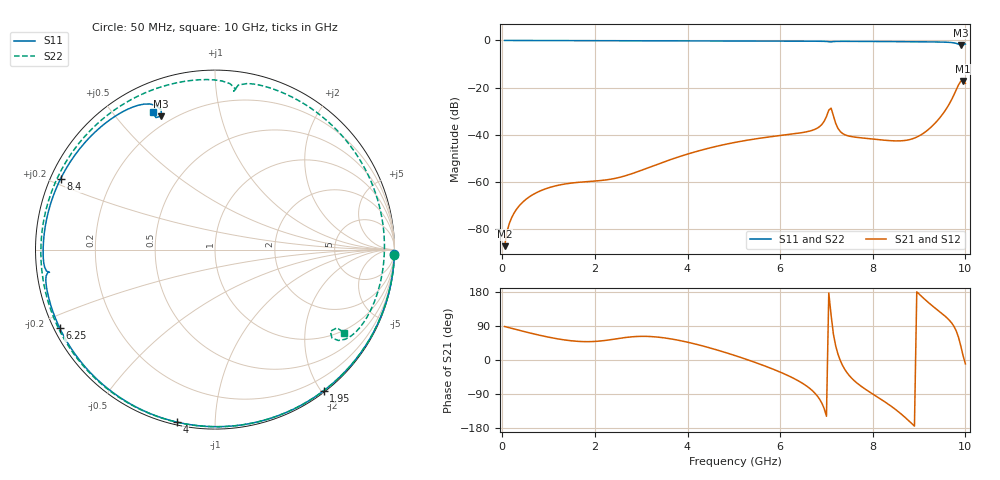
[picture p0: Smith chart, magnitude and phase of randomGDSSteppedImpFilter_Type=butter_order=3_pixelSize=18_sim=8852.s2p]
! freq	dB(S11)	phase(S11)	dB(S12)	phase(S12)
!  dB(S21)	phase(S21)	dB(S22)	phase(S22)
!S-par simulation data
#  GHz  S  DB  R 50
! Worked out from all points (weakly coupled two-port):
!   200 points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, 50 MHz to 10 GHz, reference 50 ohm
!   highest |S21| = -17.14 dB at 9.95 GHz (marker M1); lowest = -87.3 dB at 50 MHz (marker M2)
!   lowest |S11| = -1.9 dB at 9.9 GHz (marker M3), VSWR 9.07, Z = 7.98 + j33.2 ohm
!   |S11| at or under -10 dB: nowhere
!   |S22| runs from -2.1 to 0.0 dB; largest |S21 - S12| = 0
!   S11 on the Smith chart (normalised r, x): 50 MHz: 0, -83; 1.95 GHz: 0.02, -2.04; 4 GHz: 0.01, -0.80; 6.25 GHz: 0.02, -0.24; 8.4 GHz: 0.03, +0.22; 10 GHz: 0.12, +0.64
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0.05  -0.00 -1.4  -87.25 88.4  -87.25 88.4  -0.00 -1.9
0.35  -0.01 -9.6  -70.50 78.8  -70.50 78.8  -0.02 -13.0
0.65  -0.02 -17.8  -65.51 69.7  -65.51 69.7  -0.03 -24.1
1.75  -0.06 -47.1  -59.99 48.5  -59.99 48.5  -0.08 -64.1
1.95  -0.07 -52.3  -59.70 48.7  -59.70 48.7  -0.09 -71.3
2.65  -0.09 -70.0  -57.44 59.2  -57.44 59.2  -0.12 -96.3
3.4  -0.11 -88.3  -52.16 59.9  -52.16 59.9  -0.16 -123.3
4  -0.14 -102.4  -48.19 47.0  -48.19 47.0  -0.20 -145.3
5.05  -0.19 -126.3  -43.14 10.8  -43.14 10.8  -0.28 173.9
6.25  -0.27 -153.3  -39.71 -45.8  -39.71 -45.8  -0.37 121.6
6.7  -0.31 -163.7  -38.08 -81.4  -38.08 -81.4  -0.42 100.3
6.9  -0.35 -168.5  -35.65 -113.8  -35.65 -113.8  -0.49 90.2
7.1  -0.62 -172.2  -28.71 118.9  -28.71 118.9  -1.02 83.3
7.2  -0.41 -174.1  -35.20 36.7  -35.20 36.7  -0.51 78.9
7.35  -0.37 -178.1  -39.49 -15.0  -39.49 -15.0  -0.43 70.8
8.35  -0.47 156.7  -42.47 -117.9  -42.47 -117.9  -0.46 23.7
8.4  -0.48 155.4  -42.53 -122.2  -42.53 -122.2  -0.46 21.5
9.2  -0.60 133.0  -37.78 151.8  -37.78 151.8  -0.55 -12.0
9.55  -0.72 121.7  -30.12 116.9  -30.12 116.9  -0.70 -26.1
9.9  -1.92 111.9  -17.33 37.3  -17.33 37.3  -2.07 -35.3
9.95  -1.87 114.1  -17.14 11.5  -17.14 11.5  -1.86 -32.7
10  -1.51 114.4  -18.18 -10.1  -18.18 -10.1  -1.36 -32.8
